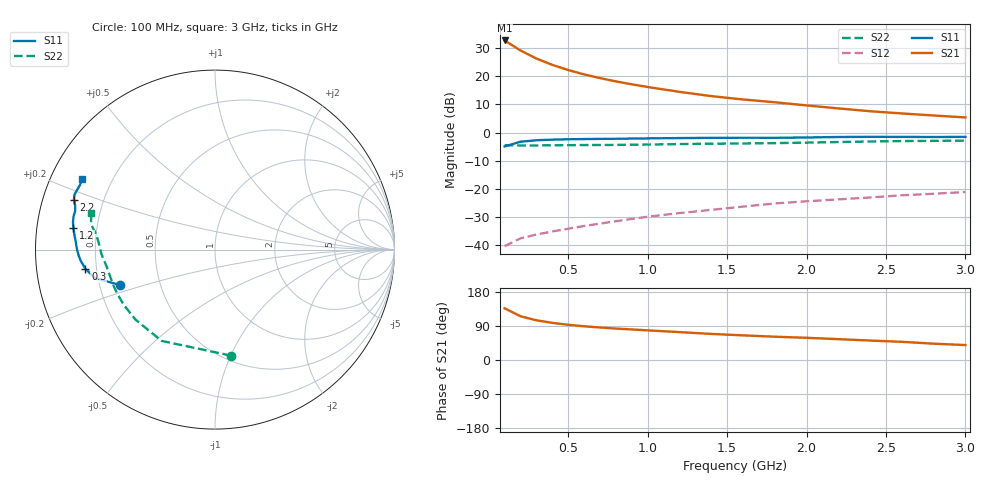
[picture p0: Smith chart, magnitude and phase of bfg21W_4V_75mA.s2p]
! Filename: 475bfg21.001
! Title: BFG21W
! Bias: Vce=4V; Ic=75mA
! Company: Philips Semiconductors NL
! User: Quality&Reliability T&D
! Measure time: 10 Nov 1999 / 11:45:30
#  MHz  S  MA  R 50
! Freq  S11  S21  S12  S22  :
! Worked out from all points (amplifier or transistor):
!   20 points, 100 MHz to 3 GHz, reference 50 ohm
!   highest |S21| = 32.8 dB at 100 MHz (marker M1)
!   |S21| within 3 dB of that: start of sweep to 184.2 MHz
!   unconditionally stable (mu >= 1): 733.6 MHz to end of sweep
!   at 400 MHz: K = 0.82, MSG = 29.6 dB, |S12| = -35.2 dB
!   at 1.2 GHz: K = 1.07, MAG = 19.9 dB, |S12| = -28.6 dB
!   at 3 GHz: K = 1.05, MAG = 11.9 dB, |S12| = -21.1 dB
!   S11 on the Smith chart (normalised r, x): 100 MHz: 0.28, -0.16; 300 MHz: 0.16, -0.07; 1.2 GHz: 0.11, +0.08; 2.2 GHz: 0.09, +0.17; 3 GHz: 0.09, +0.25
100  0.5666 -159.7  43.47 136.4  0.00955 48.5  0.5974 -81.4
200  0.688 -166.7  28.85 115.4  0.01316 45.3  0.5891 -120.3
300  0.73 -171.6  20.72 104.8  0.01537 47.6  0.5904 -138.7
400  0.7489 -174.9  15.99 98.0  0.01743 50.7  0.5944 -149.0
500  0.7599 -177.4  12.96 92.9  0.01951 53.9  0.5975 -155.6
600  0.767 -179.5  10.84 89.0  0.02176 56.8  0.5998 -160.2
700  0.7722 178.7  9.312 85.8  0.02406 59.6  0.6016 -163.8
800  0.7768 177.0  8.13 83.0  0.02653 61.8  0.604 -166.7
900  0.7822 175.4  7.206 80.6  0.02908 63.9  0.6077 -169.3
1000  0.788 173.9  6.468 78.2  0.03186 65.3  0.6123 -171.5
1200  0.7983 171.2  5.304 73.6  0.03703 67.5  0.6237 -175.2
1400  0.8058 169.1  4.451 68.8  0.04219 68.6  0.6341 -178.1
1600  0.8094 166.8  3.879 65.0  0.04825 69.6  0.6406 179.3
1800  0.8083 164.4  3.462 61.5  0.05481 70.2  0.6495 176.5
2000  0.8173 162.4  3.041 58.6  0.06002 71.1  0.6624 173.7
2200  0.8343 160.5  2.692 55.0  0.06488 71.2  0.6785 171.3
2400  0.8403 158.7  2.397 51.3  0.0701 70.6  0.6952 169.5
2600  0.8381 156.8  2.188 48.0  0.07677 69.8  0.7062 167.9
2800  0.8338 154.5  2.013 43.0  0.08172 68.3  0.7117 165.9
3000  0.8387 151.9  1.859 39.4  0.08768 67.5  0.7198 163.3
